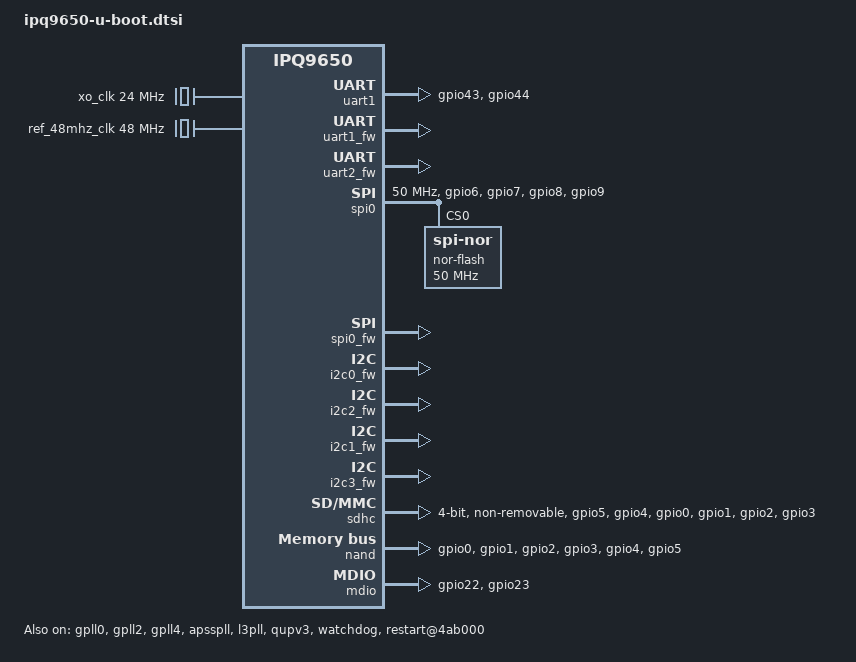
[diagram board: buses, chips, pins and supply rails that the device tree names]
// SPDX-License-Identifier: GPL-2.0+
/*
 * Copyright (c) Qualcomm Technologies, Inc. and/or its subsidiaries.
 */

#include <dt-bindings/interrupt-controller/arm-gic.h>
#include <asm/arch/dt-bindings/clock/qcom,ipq9650-gcc.h>
#include <asm/arch/dt-bindings/clock/qcom,ipq9650-cmn-pll.h>
#include <asm/arch/dt-bindings/reset/qcom,ipq9650-gcc.h>
#include <dt-bindings/net/qcom_ipqsoc.h>
#include <dt-bindings/gpio/gpio.h>
/ {
	bootph-all;
	#address-cells = <2>;
	#size-cells = <2>;
	interrupt-parent = <&intc>;

	aliases {
		serial0 = &uart1;
		uart2 = &uart2;
	};

	chosen {
		stdout-path = "serial0:115200n8";
#ifdef CONFIG_BOOT_BANK_FIXUP
		u-boot,booted-bank = "unknown,bootbank";
#endif
	};

	clocks {
		sleep_clk: sleep-clk {
			compatible = "fixed-clock";
			#clock-cells = <0>;
			clock-frequency = <32000>;
		};

		xo_clk: xo-clk {
			compatible = "fixed-clock";
			clock-frequency = <24000000>;
			#clock-cells = <0>;
		};

		ref_48mhz_clk: ref-48mhz-clk {
			compatible = "fixed-clock";
			clock-frequency = <48000000>;
			#clock-cells = <0>;
		};
	};

	reserved-memory {
		#address-cells = <2>;
		#size-cells = <2>;
		ranges;

		/delete-node/ smem;
		smem_mem: smem_region@8a500000 {
			bootph-all;
			reg = <0x0 0x8a500000 0x0 0x40000>;
			no-map;
		};

		tfa: tfa_region@0x8a600000 {
			reg = <0x0 0x8a600000 0x0 0x80000>;
			no-map;
		};

		optee: optee_region@0x8a680000 {
			reg = <0x0 0x8a680000 0x0 0x280000>;
			no-map;
		};
	};

	firmware {
		optee {
			compatible = "linaro,optee-tz";
			method = "smc";
			status = "disabled";
		};
	};

	smem {
		bootph-all;
		compatible = "qcom,smem";
		memory-region = <&smem_mem>;
	};

	psci {
		compatible = "arm,psci-1.0";
		method = "smc";
	};

	soc@0 {
		bootph-all;
		compatible = "simple-bus";
		#address-cells = <2>;
		#size-cells = <2>;
		ranges = <0 0 0 0 0x10 0>;

		tlmm: pinctrl@1000000 {
			bootph-all;
			compatible = "qcom,ipq9650-tlmm";
			reg = <0 0x01000000 0 0x300000>;
			gpio-controller;
			#gpio-cells = <2>;
			gpio-ranges = <&tlmm 0 0 54>;
			interrupt-controller;
			#interrupt-cells = <2>;

			uart1_pins: uart1-state {
				bootph-all;
				rx-pins {
					pins = "gpio43";
					function = "qup_se6_l3";
					drive-strength = <8>;
					bias-pull-down;
					bootph-all;
				};

				tx-pins {
					pins = "gpio44";
					function = "qup_se6_l2";
					drive-strength = <8>;
					bias-pull-down;
					output-high;
					bootph-all;
				};
			};

			uart2_pins: uart2-state {
				rx-pins {
					pins = "gpio12";
					function = "qup_se1_l3";
					drive-strength = <8>;
					bias-pull-down;
				};

				tx-pins {
					pins = "gpio11";
					function = "qup_se1_l0";
					drive-strength = <8>;
					bias-pull-down;
					output-high;
				};
			};
		};

		intc: interrupt-controller@f200000 {
			bootph-all;
			compatible = "arm,gic-v3";
			reg = <0x0 0x0f200000 0x0 0x10000>, /* GICD */
			      <0x0 0x0f240000 0x0 0xa0000>; /* GICR * 5 regions */
			#interrupt-cells = <0x3>;
			interrupt-controller;
			#redistributor-regions = <1>;
			redistributor-stride = <0x0 0x20000>;
			interrupts = <GIC_PPI 9 IRQ_TYPE_LEVEL_HIGH>;
		};

		tmel_qmp: tmel-qmp@22090000 {
			bootph-all;
			compatible = "qcom,tmel-qmp-mbox";
			reg = <0x0 0x22090000 0x0 0x20>,
			      <0x0 0x22091000 0x0 0x20>;
			reg-names = "mcore", "ucore";

			interrupts = <GIC_SPI 126 IRQ_TYPE_EDGE_RISING>;
			max_pkt_size = <0x18>;

			#mbox-cells = <0>;
			status = "disabled";
		};

		tmelcom: qcom,tmelcom {
			bootph-all;
			compatible = "qcom,tmelcom";
			mboxes = <&tmel_qmp>;
			mbox-names = "tmel-qmp-mbox";
			#clock-cells = <1>;
			#power-domain-cells = <1>;
			#reset-cells = <1>;
			status = "disabled";
		};

		gcc: clock-controller@1800000 {
			bootph-all;
			compatible = "qcom,ipq9650-gcc";
			reg = <0 0x01800000 0 0x40000>;
			#clock-cells = <1>;
			#reset-cells = <1>;
			#power-domain-cells = <1>;
		};

		gpll0: pll@1820000 {
			bootph-pre-ram;
			compatible = "qcom,ipq9650-clk-pll",
				     "qcom,ipq-clk-pll";
			reg = <0 0x01820000 0 0x1000>;
			#clock-cells = <0>;
			clock-output-names = "gpll0";
			status = "okay";
		};

		gpll2: pll@1821000 {
			bootph-pre-ram;
			compatible = "qcom,ipq9650-clk-pll",
				     "qcom,ipq-clk-pll";
			reg = <0 0x01821000 0 0x1000>;
			#clock-cells = <0>;
			clock-output-names = "gpll2";
			status = "okay";
		};

		gpll4: pll@1822000 {
			bootph-pre-ram;
			compatible = "qcom,ipq9650-clk-pll",
				     "qcom,ipq-clk-pll";
			reg = <0 0x01822000 0 0x1000>;
			#clock-cells = <0>;
			clock-output-names = "gpll4";
			status = "okay";
		};

		apsspll: pll@fa80000 {
			bootph-pre-ram;
			compatible = "qcom,ipq9650-clk-pll",
					"qcom,ipq-clk-pll";
			reg = <0 0x0fa80000 0 0x10000>;
			clock-output-names = "apsspll";
			status = "okay";
		};

		apss_cpu: apss-cpu-clock@fa80000 {
			bootph-pre-ram;
			compatible = "qcom,ipq9650-apss";
			reg = <0 0x0fa80000 0 0x10000>;
			#clock-cells = <1>;
		};

		l3pll: pll@faa0000 {
			bootph-pre-ram;
			compatible = "qcom,ipq9650-clk-pll",
					"qcom,ipq-clk-pll";
			reg = <0 0x0faa0000 0 0x10000>;
			clock-output-names = "l3pll";
			status = "okay";
		};

		apss_l3: apss-l3-clock@faa0000 {
			bootph-pre-ram;
			compatible = "qcom,ipq9650-apss";
			reg = <0 0x0faa0000 0 0x10000>;
			#clock-cells = <1>;
		};

		pll_init: qcom,ipq-init-plls {
			bootph-pre-ram;
			compatible = "qcom,ipq-init-plls";
			plls = <&gpll0 &gpll2 &gpll4 &apsspll &l3pll>;
			status = "okay";
		};

		board_init_clks: qcom,ipq-init-clks {
			bootph-pre-ram;
			compatible = "qcom,ipq-init-clks";

			clocks = <&gcc GCC_MPM_AHB_CLK>,
				 <&gcc GCC_GEMNOC_ANOC_CLK>,
				 <&gcc GCC_ANOC0_AXI_CLK>,
				 <&gcc GCC_APSS_DBG_CLK>,
				 <&gcc GCC_APSS_TS_CLK>,
				 <&gcc GCC_SNOC_QOSGEN_EXTREF_CLK>,
				 <&gcc GCC_SYS_NOC_AT_CLK>,
				 <&gcc GCC_SNOC_XO_DCD_CLK>,
				 <&gcc GCC_SNOC_TS_CLK>,
				 <&gcc GCC_PCNOC_AT_CLK>,
				 <&gcc GCC_PCNOC_TS_CLK>,
				 <&gcc GCC_CNOC_QOSGEN_EXTREF_CLK>,
				 <&gcc GCC_AGGRNOC_ATB_CLK>,
				 <&gcc GCC_AGGRNOC_TS_CLK>,
				 <&gcc GCC_ANOC1_AXI_CLK>,
				 <&gcc GCC_ANOC_QOSGEN_EXTREF_CLK>,
				 <&gcc GCC_ANOC_XO_DCD_CLK>,
				 <&gcc GCC_PCNOC_CE_EDPD_CLK>,
				 <&gcc GCC_CMN_LDO_CLK>,
				 <&gcc GCC_SPDM_PCNOC_CY_CLK>;

			assigned-clocks = <&apss_cpu APSS_SILVER_CLK>,
					  <&apss_l3 APSS_L3_CLK>,
					  <&gcc GCC_PCNOC_BFDCD_CLK>,
					  <&gcc GCC_SYSTEM_NOC_BFDCD_CLK>,
					  <&gcc GCC_APSS_AXI_CLK>,
					  <&gcc GCC_APSS_AHB_CLK>,
					  <&gcc GCC_QDSS_TSCTR_CLK>,
					  <&gcc GCC_QDSS_AT_CLK>,
					  <&gcc GCC_ANOC0_AXI_BFDCD_CLK>,
					  <&gcc GCC_XO_CLK>;

			assigned-clock-rates = <1368000000>,
					       <1176000000>,
					       <100000000>,
					       <266666666>,
					       <800000000>,
					       <100000000>,
					       <600000000>,
					       <240000000>,
					       <342000000>,
					       <24000000>;

			clock-names = "pcnoc_bfdcd",
				      "sysnoc_bfdcd",
				      "apss_axi",
				      "apss_ahb",
				      "qdss_tsctr",
				      "qdss_at",
				      "anoc_axi_bfdcd",
				      "xo";

			status = "okay";
		};

		nsscc: clock-controller@29b00000 {
			compatible = "qcom,ipq9650-nsscc";
			reg = <0x0 0x29b00000 0x0 0x100000>;
			clocks = <&xo_clk>,
				 <&cmn_pll IPQ9650_NSS_CLK>,
				 <&cmn_pll IPQ9650_PPE_CLK>;
			clock-names = "xo",
				      "nss",
				      "ppe";
			#clock-cells = <1>;
			#reset-cells = <1>;
			#power-domain-cells = <1>;
		};

		qupv3: geniqup@1ac0000 {
			bootph-all;
			compatible = "qcom,geni-se-qup";
			reg = <0 0x01ac0000 0 0x2000>;
			clocks = <&gcc GCC_QUPV3_AHB_MST_CLK>,
				 <&gcc GCC_QUPV3_AHB_SLV_CLK>;
			clock-names = "m-ahb", "s-ahb";
			ranges;
			#address-cells = <2>;
			#size-cells = <2>;

			status = "disabled";

			uart1: serial@1a98000 {
				bootph-all;
				compatible = "qcom,geni-debug-uart";
				reg = <0 0x1a98000 0 0x4000>;
				clocks = <&gcc GCC_QUPV3_UART2_CLK>;
				clock-names = "se";
				status = "disabled";
			};

			uart2: serial@1a84000 {
				compatible = "qcom,geni-debug-uart";
				reg = <0 0x1a84000 0 0x4000>;
				clocks = <&gcc GCC_QUPV3_UART1_CLK>;
				clock-names = "se";
				status = "disabled";
			};
		};

		sdhc: mmc@7804000 {
			bootph-all;
			compatible = "qcom,ipq9650-sdhci", "qcom,sdhci-msm-v5";
			reg = <0 0x07804000 0 0x1000>,
			      <0 0x07805000 0 0x1000>,
			      <0 0x07808000 0 0x8000>;
			reg-names = "hc", "cqhci", "ice";

			clocks = <&gcc GCC_SDCC1_AHB_CLK>,
				 <&gcc GCC_SDCC1_APPS_CLK>,
				 <&gcc GCC_SDCC1_ICE_CORE_CLK>;
			clock-names = "iface", "core", "ice";

			status = "disabled";
		};

		nand: nand-controller@79B0000 {
			bootph-all;
			compatible = "qti,spi-nand-v2.1.3";
			#address-cells = <2>;
			#size-cells = <2>;
			reg = <0x0 0x79B0000 0x0 0x10000>;
			assigned-clocks = <&gcc GCC_QPIC_CLK>,
					 <&gcc GCC_QPIC_IO_MACRO_CLK>;
			assigned-clock-rates = <100000000>, <200000000>;
			clock-names = "qpic-clk",
				      "qpic-io-macro-clk",
				      "qpic-ahb-clk";
			clocks = <&gcc GCC_QPIC_CLK>,
				<&gcc GCC_QPIC_IO_MACRO_CLK>,
				<&gcc GCC_QPIC_AHB_CLK>;

			bam_reg = <0x07984000>;
			status_pipe = <3>;
			status_pipe_grp = <0>;
			read_pipe = <1>;
			read_pipe_grp = <0>;
			write_pipe = <0>;
			write_pipe_grp = <0>;
			cmd_pipe = <2>;
			cmd_pipe_grp = <1>;
			serial_training;
			pinctrl-0 = <&qspi_pinmux>;
			pinctrl-names = "default";
			status = "okay";
		};

		qmp_ssphy_0: ssphy@7d000 {
			compatible = "qcom,ipq9650-qmp-usb3-phy";
			#address-cells = <2>;
			#size-cells = <2>;
			reg = <0x0 0x7d000 0x0 0x1c0>,
				<0x0 0x7d200 0x0 0x170>,
				<0x0 0x7d400 0x0 0x200>,
				<0x0 0x7d800 0x0 0x1f0>,
				<0x0 0x7de00 0x0 0x60>;
			reg-names = "com_base", "tx_base",
				"rx_base", "pcs_base", "pcs_usb_base";
			clocks = <&gcc GCC_USB0_AUX_CLK>,
				 <&gcc GCC_USB0_PHY_CFG_AHB_CLK>,
				 <&gcc GCC_USB0_PIPE_CLK>;
			#phy-cells = <0>;
			resets =  <&gcc GCC_USB0_PHY_BCR>,
			       <&gcc GCC_USB3PHY_0_PHY_BCR>;
			status = "disabled";
		};

		qusb2_phy_0: qusb2_0@7b000 {
			compatible = "qcom,ipq9650-usb-hs-phy";
			#address-cells = <2>;
			#size-cells = <2>;
			reg = <0x0 0x07b000 0x0 0x114>;
			#phy-cells = <0>;
			clocks = <&gcc GCC_USB0_PHY_CFG_AHB_CLK>;
			clock-names = "cfg_ahb";

			resets = <&gcc GCC_QUSB2_0_PHY_BCR>;
			status = "disabled";
		};

		qusb2_phy_1: qusb2_1@71000 {
			compatible = "qcom,ipq9650-usb-hs-phy";
			#address-cells = <2>;
			#size-cells = <2>;
			reg = <0x0 0x071000 0x0 0x114>;
			#phy-cells = <0>;
			clocks = <&gcc GCC_USB1_PHY_CFG_AHB_CLK>;
			clock-names = "cfg_ahb";
			resets = <&gcc GCC_QUSB2_1_PHY_BCR>;
			status = "disabled";
		};

		usb3_0: usb3_0@8af8800 {
			compatible = "qcom,dwc3";
			reg = <0x0 0x8af8800 0x0 0x100>;
			#address-cells = <2>;
			#size-cells = <2>;
			assigned-clocks = <&gcc GCC_USB0_MASTER_CLK>,
				<&gcc GCC_USB0_MOCK_UTMI_CLK>,
				<&gcc GCC_USB0_AUX_CLK>;
			assigned-clock-rates = <200000000>,
				<24000000>,
				<24000000>;
			clocks = <&gcc GCC_USB0_MASTER_CLK>,
				<&gcc GCC_USB0_AUX_CLK>,
				<&gcc GCC_USB0_SLEEP_CLK>,
				<&gcc GCC_USB0_MOCK_UTMI_CLK>,
				<&gcc GCC_USB0_PHY_CFG_AHB_CLK>,
				<&gcc GCC_USB_CMN_HCLK>,
				<&gcc GCC_USB_CMN_LDO_CLK>;
			clock-names = "master",
				"aux",
				"sleep",
				"ref",
				"cfg_ahb",
				"cmn_hclk",
				"cmn_ldo";
			resets = <&gcc GCC_USB_BCR>;
			ranges;
			status = "disabled";

			dwc3@8a00000 {
				compatible = "snps,dwc3";
				reg = <0x0 0x8a00000 0x0 0xf8000>;
				clocks = <&gcc GCC_USB0_MOCK_UTMI_CLK>;
				clock-names = "ref";
				dr_mode = "host";
				snps,dis_u2_susphy_quirk;
				snps,dis_u3_susphy_quirk;
				phys = <&qusb2_phy_0>, <&qmp_ssphy_0>;
				phy-names = "usb2-phy", "usb3-phy";
				maximum-speed = "super-speed";
			};
		};

		/*
		* usb3_1 node configuration makes usb 3.0 controller
		* to use usb 3.0 devices as usb 2.0 device
		*/
		usb3_1: usb3_1@8af8800 {
			compatible = "qcom,dwc3";
			reg = <0x0 0x8af8800 0x0 0x100>;
			#address-cells = <2>;
			#size-cells = <2>;
			assigned-clocks = <&gcc GCC_USB0_MASTER_CLK>,
				<&gcc GCC_USB0_MOCK_UTMI_CLK>,
				<&gcc GCC_USB0_AUX_CLK>;
			assigned-clock-rates = <200000000>,
				<24000000>,
				<24000000>;
			clocks = <&gcc GCC_USB0_MASTER_CLK>,
				<&gcc GCC_USB0_AUX_CLK>,
				<&gcc GCC_USB0_SLEEP_CLK>,
				<&gcc GCC_USB0_MOCK_UTMI_CLK>,
				<&gcc GCC_USB0_PHY_CFG_AHB_CLK>,
				<&gcc GCC_USB_CMN_HCLK>,
				<&gcc GCC_USB_CMN_LDO_CLK>;
                        clock-names = "master",
                                "aux",
                                "sleep",
                                "ref",
                                "cfg_ahb",
                                "cmn_hclk",
                                "cmn_ldo";
			resets = <&gcc GCC_USB_BCR>;
			ranges;
			qcom,select-utmi-as-pipe-clk;
			status = "disabled";

			dwc3@8a00000 {
				compatible = "snps,dwc3";
				reg = <0x0 0x8a00000 0x0 0xf8000>;
				clocks = <&gcc GCC_USB1_MOCK_UTMI_CLK>;
				clock-names = "ref";
				dr_mode = "host";
				snps,dis_u2_susphy_quirk;
				snps,dis_u3_susphy_quirk;
				phys = <&qusb2_phy_0>;
				phy-names = "usb2-phy";
				maximum-speed = "high-speed";
			};
		};

		usb2_0: usb2_0@1ef8800 {
			compatible = "qcom,dwc3";
			reg = <0x0 0x1ef8800 0x0 0x100>;
			#address-cells = <2>;
			#size-cells = <2>;
			assigned-clocks = <&gcc GCC_USB1_MOCK_UTMI_CLK>;
			assigned-clock-rates = <60000000>;
			clocks = <&gcc GCC_USB1_MASTER_CLK>,
				<&gcc GCC_SNOC_USB_CLK>,
				<&gcc GCC_USB1_SLEEP_CLK>,
				<&gcc GCC_USB1_MOCK_UTMI_CLK>,
				<&gcc GCC_USB1_PHY_CFG_AHB_CLK>;
			clock-names = "master",
				"snoc",
				"sleep",
				"ref",
				"cfg_ahb";
			resets = <&gcc GCC_USB1_BCR>;
			ranges;
			qcom,select-utmi-as-pipe-clk;
			status = "disabled";

			dwc3@1e00000 {
				compatible = "snps,dwc3";
				reg = <0x0 0x1e00000 0x0 0xf8000>;
				clocks = <&gcc GCC_USB1_MOCK_UTMI_CLK>;
				clock-names = "ref";
				dr_mode = "host";
				snps,dis_u2_susphy_quirk;
				snps,dis_u3_susphy_quirk;
				phys = <&qusb2_phy_1>;
				phy-names = "usb2-phy";
				maximum-speed = "high-speed";
			};
		};

		pcie0_phy: phy@84000 {
			compatible = "qcom,ipq9650-qmp-gen3x1-pcie-phy";
			reg = <0x0 0x00084000 0x0 0x1c0>; /* Serdes PLL */
			#address-cells = <1>;
			#size-cells = <1>;

			clocks = <&gcc GCC_PCIE0_AUX_CLK>,
				 <&gcc GCC_PCIE0_AHB_CLK>,
				 <&gcc GCC_PCIE0_RCHNG_CLK>,
				 <&gcc GCC_PCIE0_PIPE_CLK>,
				 <&gcc GCC_ANOC_PCIE0_1LANE_M_CLK>,
				 <&gcc GCC_ANOC_PCIE0_1LANE_S_CLK>;
			clock-names = "aux", "cfg_ahb", "rchng", "pipe",
					"lane_m", "lane_s";

			resets = <&gcc GCC_PCIE0_PHY_BCR>,
				 <&gcc GCC_PCIE0PHY_PHY_BCR>;
			reset-names = "phy", "common";

			#phy-cells = <0>;
			status = "disabled";
		};

		pcie4_phy: phy@8c000 {
			compatible = "qcom,ipq9650-qmp-gen3x1-pcie-phy";
			reg = <0x0 0x0008c000 0x0 0x1c0>; /* Serdes PLL */
			#address-cells = <1>;
			#size-cells = <1>;

			clocks = <&gcc GCC_PCIE4_AUX_CLK>,
				 <&gcc GCC_PCIE4_AHB_CLK>,
				 <&gcc GCC_PCIE4_RCHNG_CLK>,
				 <&gcc GCC_PCIE4_PIPE_CLK>,
				 <&gcc GCC_ANOC_PCIE4_1LANE_M_CLK>,
				 <&gcc GCC_ANOC_PCIE4_1LANE_S_CLK>;
			clock-names = "aux", "cfg_ahb", "rchng", "pipe",
					"lane_m", "lane_s";

			resets = <&gcc GCC_PCIE4_PHY_BCR>,
				 <&gcc GCC_PCIE4PHY_PHY_BCR>;
			reset-names = "phy", "common";

			#phy-cells = <0>;
			status = "disabled";
		};

		pcie3_phy: phy@b4000 {
			compatible = "qcom,ipq9650-qmp-gen3x2-pcie-phy";
			reg = <0x0 0x000b4000 0x0 0x1c0>; /* Serdes PLL */
			#address-cells = <1>;
			#size-cells = <1>;

			clocks = <&gcc GCC_PCIE3_AUX_CLK>,
				 <&gcc GCC_PCIE3_AHB_CLK>,
				 <&gcc GCC_PCIE3_RCHNG_CLK>,
				 <&gcc GCC_PCIE3_PIPE_CLK>,
				 <&gcc GCC_ANOC_PCIE3_2LANE_M_CLK>,
				 <&gcc GCC_ANOC_PCIE3_2LANE_S_CLK>;
			clock-names = "aux", "cfg_ahb", "rchng", "pipe",
					"lane_m", "lane_s";

			resets = <&gcc GCC_PCIE3_PHY_BCR>,
				 <&gcc GCC_PCIE3PHY_PHY_BCR>;
			reset-names = "phy", "common";

			#phy-cells = <0>;
			status = "disabled";
		};

		pcie1_phy: phy@f4000 {
			compatible = "qcom,ipq9650-qmp-gen3x2-pcie-phy";
			reg = <0x0 0x000f4000 0x0 0x1c0>; /* Serdes PLL */
			#address-cells = <1>;
			#size-cells = <1>;

			clocks = <&gcc GCC_PCIE1_AUX_CLK>,
				 <&gcc GCC_PCIE1_AHB_CLK>,
				 <&gcc GCC_PCIE1_RCHNG_CLK>,
				 <&gcc GCC_PCIE1_PIPE_CLK>,
				 <&gcc GCC_ANOC_PCIE1_2LANE_M_CLK>,
				 <&gcc GCC_ANOC_PCIE1_2LANE_S_CLK>;
			clock-names = "aux", "cfg_ahb", "rchng", "pipe",
					"lane_m", "lane_s";

			resets = <&gcc GCC_PCIE1_PHY_BCR>,
				 <&gcc GCC_PCIE1PHY_PHY_BCR>;
			reset-names = "phy", "common";

			#phy-cells = <0>;
			status = "disabled";
		};

		pcie2_phy: phy@fc000 {
			compatible = "qcom,ipq9650-qmp-gen3x2-pcie-phy";
			reg = <0x0 0x000fc000 0x0 0x1c0>; /* Serdes PLL */
			#address-cells = <1>;
			#size-cells = <1>;

			clocks = <&gcc GCC_PCIE2_AUX_CLK>,
				 <&gcc GCC_PCIE2_AHB_CLK>,
				 <&gcc GCC_PCIE2_RCHNG_CLK>,
				 <&gcc GCC_PCIE2_PIPE_CLK>,
				 <&gcc GCC_ANOC_PCIE2_2LANE_M_CLK>,
				 <&gcc GCC_ANOC_PCIE2_2LANE_S_CLK>;
			clock-names = "aux", "cfg_ahb", "rchng", "pipe",
					"lane_m", "lane_s";

			resets = <&gcc GCC_PCIE2_PHY_BCR>,
				 <&gcc GCC_PCIE2PHY_PHY_BCR>;
			reset-names = "phy", "common";

			#phy-cells = <0>;
			status = "disabled";
		};

		/* 2L controller */
		pcie3: pcie@30000000 {
			compatible = "qcom,pcie-ipq9650";
			reg =  <0x0 0x30000000 0x0 0xf1d>,
			       <0x0 0x30000f20 0x0 0xa8>,
			       <0x0 0x30001000 0x0 0x1000>,
			       <0x0 0xb0000 0x0 0x3000>,
			       <0x0 0x30100000 0x0 0x1000>;
			reg-names = "dbi", "elbi", "atu", "parf", "config";
			device_type = "pci";
			linux,pci-domain = <3>;
			bus-range = <0x00 0xff>;
			num-lanes = <2>;
			#address-cells = <3>;
			#size-cells = <2>;
			axi-halt-val = <0x1e>; /* increase halt window size to 1GB */
			id = <3>;

			ranges = <0x81000000 0 0x30200000 0x0 0x30200000 0 0x00100000>,   /* downstream I/O */
				 <0x82000000 0 0x30300000 0x0 0x30300000 0 0x0fd00000>; /* non-prefetchable memory */

			clocks = <&gcc GCC_PCIE3_AXI_M_CLK>,
				 <&gcc GCC_PCIE3_AXI_S_CLK>,
				 <&gcc GCC_PCIE3_AHB_CLK>,
				 <&gcc GCC_PCIE3_AUX_CLK>,
				 <&gcc GCC_PCIE3_AXI_S_BRIDGE_CLK>,
				 <&gcc GCC_PCIE_CMN_HCLK>,
				 <&gcc GCC_PCIE_CMN_LDO_CLK>,
				 <&gcc GCC_REFGEN_PCIE_CORE_CLK>,
				 <&gcc GCC_REFGEN_PCIE_HCLK>;

			clock-names = "axi_m",
				      "axi_s",
				      "ahb",
				      "aux",
				      "axi_bridge",
				      "cmn_hclk",
				      "cmn_ldo",
				      "refgen_core",
				      "refgen_hclk";

			assigned-clocks = <&gcc GCC_PCIE3_AUX_CLK>,
					<&gcc GCC_PCIE3_AXI_M_CLK>,
					<&gcc GCC_PCIE3_AXI_S_CLK>,
					<&gcc GCC_PCIE3_RCHNG_CLK>;

			assigned-clock-rates = <20000000>,
						<266666666>,
						<200000000>,
						<100000000>;

			resets = <&gcc GCC_PCIE3_PIPE_ARES>,
				 <&gcc GCC_PCIE3_CORE_STICKY_RESET>,
				 <&gcc GCC_PCIE3_AXI_M_ARES>,
				 <&gcc GCC_PCIE3_AXI_S_ARES>,
				 <&gcc GCC_PCIE3_AXI_M_STICKY_RESET>,
				 <&gcc GCC_PCIE3_AXI_S_STICKY_RESET>,
				 <&gcc GCC_PCIE3_AHB_ARES>,
				 <&gcc GCC_PCIE3_AUX_ARES>;

			reset-names = "pipe",
				      "sticky",
				      "axi_m",
				      "axi_s",
				      "axi_m_sticky",
				      "axi_s_sticky",
				      "ahb",
				      "aux";

			msi-parent = <&intc>;

			phys = <&pcie3_phy>;
			phy-names = "pciephy";

			status = "disabled";
		};

		/* 2L controller */
		pcie2: pcie@40000000 {
			compatible = "qcom,pcie-ipq9650";
			reg =  <0x0 0x40000000 0x0 0xf1d>,
			       <0x0 0x40000f20 0x0 0xa8>,
			       <0x0 0x40001000 0x0 0x1000>,
			       <0x0 0x000f8000 0x0 0x3000>,
			       <0x0 0x40100000 0x0 0x1000>;
			reg-names = "dbi", "elbi", "atu", "parf", "config";
			device_type = "pci";
			linux,pci-domain = <2>;
			bus-range = <0x00 0xff>;
			num-lanes = <2>;
			#address-cells = <3>;
			#size-cells = <2>;
			axi-halt-val = <0x1e>; /* increase halt window size to 1GB */
			id = <2>;

			ranges = <0x81000000 0 0x40200000 0x0 0x40200000 0 0x00100000>,   /* downstream I/O */
				 <0x82000000 0 0x40300000 0x0 0x40300000 0 0x0fd00000>; /* non-prefetchable memory */

			clocks = <&gcc GCC_PCIE2_AXI_M_CLK>,
				 <&gcc GCC_PCIE2_AXI_S_CLK>,
				 <&gcc GCC_PCIE2_AHB_CLK>,
				 <&gcc GCC_PCIE2_AUX_CLK>,
				 <&gcc GCC_PCIE2_AXI_S_BRIDGE_CLK>,
				 <&gcc GCC_PCIE_CMN_HCLK>,
				 <&gcc GCC_PCIE_CMN_LDO_CLK>,
				 <&gcc GCC_REFGEN_PCIE_CORE_CLK>,
				 <&gcc GCC_REFGEN_PCIE_HCLK>;

			clock-names = "axi_m",
				      "axi_s",
				      "ahb",
				      "aux",
				      "axi_bridge",
				      "cmn_hclk",
				      "cmn_ldo",
				      "refgen_core",
				      "refgen_hclk";

			assigned-clocks = <&gcc GCC_PCIE2_AUX_CLK>,
					<&gcc GCC_PCIE2_AXI_M_CLK>,
					<&gcc GCC_PCIE2_AXI_S_CLK>,
					<&gcc GCC_PCIE2_RCHNG_CLK>;

			assigned-clock-rates = <20000000>,
						<266666666>,
						<200000000>,
						<100000000>;

			resets = <&gcc GCC_PCIE2_PIPE_ARES>,
				 <&gcc GCC_PCIE2_CORE_STICKY_RESET>,
				 <&gcc GCC_PCIE2_AXI_M_ARES>,
				 <&gcc GCC_PCIE2_AXI_S_ARES>,
				 <&gcc GCC_PCIE2_AXI_M_STICKY_RESET>,
				 <&gcc GCC_PCIE2_AXI_S_STICKY_RESET>,
				 <&gcc GCC_PCIE2_AHB_ARES>,
				 <&gcc GCC_PCIE2_AUX_ARES>;

			reset-names = "pipe",
				      "sticky",
				      "axi_m",
				      "axi_s",
				      "axi_m_sticky",
				      "axi_s_sticky",
				      "ahb",
				      "aux";

			msi-parent = <&intc>;

			phys = <&pcie2_phy>;
			phy-names = "pciephy";

			status = "disabled";
		};
		/* 2L controller */
		pcie1: pcie@50000000 {
			compatible = "qcom,pcie-ipq9650";
			reg =  <0x0 0x50000000 0x0 0xf1d>,
			       <0x0 0x50000f20 0x0 0xa8>,
			       <0x0 0x50001000 0x0 0x1000>,
			       <0x0 0x000f0000 0x0 0x3000>,
			       <0x0 0x50100000 0x0 0x1000>;
			reg-names = "dbi", "elbi", "atu", "parf", "config";
			device_type = "pci";
			linux,pci-domain = <1>;
			bus-range = <0x00 0xff>;
			num-lanes = <2>;
			#address-cells = <3>;
			#size-cells = <2>;
			axi-halt-val = <0x1e>; /* increase halt window size to 1GB */
			id = <1>;

			ranges = <0x81000000 0 0x50200000 0x0 0x50200000 0 0x00100000>,   /* downstream I/O */
				 <0x82000000 0 0x50300000 0x0 0x50300000 0 0x0fd00000>; /* non-prefetchable memory */

			clocks = <&gcc GCC_PCIE1_AXI_M_CLK>,
				 <&gcc GCC_PCIE1_AXI_S_CLK>,
				 <&gcc GCC_PCIE1_AHB_CLK>,
				 <&gcc GCC_PCIE1_AUX_CLK>,
				 <&gcc GCC_PCIE1_AXI_S_BRIDGE_CLK>,
				 <&gcc GCC_PCIE_CMN_HCLK>,
				 <&gcc GCC_PCIE_CMN_LDO_CLK>,
				 <&gcc GCC_REFGEN_PCIE_CORE_CLK>,
				 <&gcc GCC_REFGEN_PCIE_HCLK>;

			clock-names = "axi_m",
				      "axi_s",
				      "ahb",
				      "aux",
				      "axi_bridge",
				      "cmn_hclk",
				      "cmn_ldo",
				      "refgen_core",
				      "refgen_hclk";

			assigned-clocks = <&gcc GCC_PCIE1_AUX_CLK>,
					<&gcc GCC_PCIE1_AXI_M_CLK>,
					<&gcc GCC_PCIE1_AXI_S_CLK>,
					<&gcc GCC_PCIE1_RCHNG_CLK>;

			assigned-clock-rates = <20000000>,
						<266666666>,
						<200000000>,
						<100000000>;

			resets = <&gcc GCC_PCIE1_PIPE_ARES>,
				 <&gcc GCC_PCIE1_CORE_STICKY_RESET>,
				 <&gcc GCC_PCIE1_AXI_M_ARES>,
				 <&gcc GCC_PCIE1_AXI_S_ARES>,
				 <&gcc GCC_PCIE1_AXI_M_STICKY_RESET>,
				 <&gcc GCC_PCIE1_AXI_S_STICKY_RESET>,
				 <&gcc GCC_PCIE1_AHB_ARES>,
				 <&gcc GCC_PCIE1_AUX_ARES>;

			reset-names = "pipe",
				      "sticky",
				      "axi_m",
				      "axi_s",
				      "axi_m_sticky",
				      "axi_s_sticky",
				      "ahb",
				      "aux";

			msi-parent = <&intc>;

			phys = <&pcie1_phy>;
			phy-names = "pciephy";

			status = "disabled";
		};

		/* 1L controller */
		pcie4: pcie@60000000 {
			compatible = "qcom,pcie-ipq9650";
			reg =  <0x0 0x60000000 0x0 0xf1d>,
			       <0x0 0x60000f20 0x0 0xa8>,
			       <0x0 0x60001000 0x0 0x1000>,
			       <0x0 0x80000 0x0 0x3000>,
			       <0x0 0x60100000 0x0 0x1000>;
			reg-names = "dbi", "elbi", "atu", "parf", "config";
			device_type = "pci";
			linux,pci-domain = <4>;
			bus-range = <0x00 0xff>;
			num-lanes = <1>;
			#address-cells = <3>;
			#size-cells = <2>;
			axi-halt-val = <0x1e>; /* increase halt window size to 1GB */
			id = <4>;

			ranges = <0x81000000 0 0x60200000 0x0 0x60200000 0 0x00100000>,   /* downstream I/O */
				 <0x82000000 0 0x60300000 0x0 0x60300000 0 0x0fd00000>; /* non-prefetchable memory */

			clocks = <&gcc GCC_PCIE4_AXI_M_CLK>,
				 <&gcc GCC_PCIE4_AXI_S_CLK>,
				 <&gcc GCC_PCIE4_AHB_CLK>,
				 <&gcc GCC_PCIE4_AUX_CLK>,
				 <&gcc GCC_PCIE4_AXI_S_BRIDGE_CLK>,
				 <&gcc GCC_PCIE_CMN_HCLK>,
				 <&gcc GCC_PCIE_CMN_LDO_CLK>,
				 <&gcc GCC_REFGEN_PCIE_CORE_CLK>,
				 <&gcc GCC_REFGEN_PCIE_HCLK>;

			clock-names = "axi_m",
				      "axi_s",
				      "ahb",
				      "aux",
				      "axi_bridge",
				      "cmn_hclk",
				      "cmn_ldo",
				      "refgen_core",
				      "refgen_hclk";

			assigned-clocks = <&gcc GCC_PCIE4_AUX_CLK>,
					<&gcc GCC_PCIE4_AXI_M_CLK>,
					<&gcc GCC_PCIE4_AXI_S_CLK>,
					<&gcc GCC_PCIE4_RCHNG_CLK>;

			assigned-clock-rates = <20000000>,
						<200000000>,
						<200000000>,
						<100000000>;

			resets = <&gcc GCC_PCIE4_PIPE_ARES>,
				 <&gcc GCC_PCIE4_CORE_STICKY_RESET>,
				 <&gcc GCC_PCIE4_AXI_M_ARES>,
				 <&gcc GCC_PCIE4_AXI_S_ARES>,
				 <&gcc GCC_PCIE4_AXI_M_STICKY_RESET>,
				 <&gcc GCC_PCIE4_AXI_S_STICKY_RESET>,
				 <&gcc GCC_PCIE4_AHB_ARES>,
				 <&gcc GCC_PCIE4_AUX_ARES>;

			reset-names = "pipe",
				      "sticky",
				      "axi_m",
				      "axi_s",
				      "axi_m_sticky",
				      "axi_s_sticky",
				      "ahb",
				      "aux";

			msi-parent = <&intc>;

			phys = <&pcie4_phy>;
			phy-names = "pciephy";

			status = "disabled";
		};

		/* 1L controller */
		pcie0: pcie@70000000 {
			compatible = "qcom,pcie-ipq9650";
			reg =  <0x0 0x70000000 0x0 0xf1d>,
			       <0x0 0x70000f20 0x0 0xa8>,
			       <0x0 0x70001000 0x0 0x1000>,
			       <0x0 0x80000 0x0 0x3000>,
			       <0x0 0x70100000 0x0 0x1000>;
			reg-names = "dbi", "elbi", "atu", "parf", "config";
			device_type = "pci";
			linux,pci-domain = <0>;
			bus-range = <0x00 0xff>;
			num-lanes = <1>;
			#address-cells = <3>;
			#size-cells = <2>;
			axi-halt-val = <0x1e>; /* increase halt window size to 1GB */
			id = <0>;

			ranges = <0x81000000 0 0x70200000 0x0 0x70200000 0 0x00100000>,   /* downstream I/O */
				 <0x82000000 0 0x70300000 0x0 0x70300000 0 0x0fd00000>; /* non-prefetchable memory */

			clocks = <&gcc GCC_PCIE0_AXI_M_CLK>,
				 <&gcc GCC_PCIE0_AXI_S_CLK>,
				 <&gcc GCC_PCIE0_AHB_CLK>,
				 <&gcc GCC_PCIE0_AUX_CLK>,
				 <&gcc GCC_PCIE0_AXI_S_BRIDGE_CLK>,
				 <&gcc GCC_PCIE_CMN_HCLK>,
				 <&gcc GCC_PCIE_CMN_LDO_CLK>,
				 <&gcc GCC_REFGEN_PCIE_CORE_CLK>,
				 <&gcc GCC_REFGEN_PCIE_HCLK>;

			clock-names = "axi_m",
				      "axi_s",
				      "ahb",
				      "aux",
				      "axi_bridge",
				      "cmn_hclk",
				      "cmn_ldo",
				      "refgen_core",
				      "refgen_hclk";

			assigned-clocks = <&gcc GCC_PCIE0_AUX_CLK>,
					<&gcc GCC_PCIE0_AXI_M_CLK>,
					<&gcc GCC_PCIE0_AXI_S_CLK>,
					<&gcc GCC_PCIE0_RCHNG_CLK>;

			assigned-clock-rates = <20000000>,
						<200000000>,
						<200000000>,
						<100000000>;

			resets = <&gcc GCC_PCIE0_PIPE_ARES>,
				 <&gcc GCC_PCIE0_CORE_STICKY_RESET>,
				 <&gcc GCC_PCIE0_AXI_M_ARES>,
				 <&gcc GCC_PCIE0_AXI_S_ARES>,
				 <&gcc GCC_PCIE0_AXI_M_STICKY_RESET>,
				 <&gcc GCC_PCIE0_AXI_S_STICKY_RESET>,
				 <&gcc GCC_PCIE0_AHB_ARES>,
				 <&gcc GCC_PCIE0_AUX_ARES>;

			reset-names = "pipe",
				      "sticky",
				      "axi_m",
				      "axi_s",
				      "axi_m_sticky",
				      "axi_s_sticky",
				      "ahb",
				      "aux";

			msi-parent = <&intc>;

			phys = <&pcie0_phy>;
			phy-names = "pciephy";

			status = "disabled";
		};

		watchdog: non-sec@f410000 {
			compatible = "qcom,apss-wdt-ipq9650", "qcom,kpss-wdt";
			#address-cells = <2>;
			#size-cells = <2>;
			reg =  <0x0 0xf410000 0x0 0x1000>;
			clocks = <&sleep_clk>;
			timeout-sec = <30>;
			status = "okay";
		};

		restart@4ab000 {
			bootph-pre-ram;
			compatible = "qcom,pshold";
			reg = <0x0 0x4AB000 0x0 0x4>;
			status = "okay";
		};

		mdio: mdio@90000 {
			#address-cells = <1>;
			#size-cells = <1>;
			compatible = "qcom,ipq4019-mdio";
			pinctrl-0 = <&mdio_pins>;
			pinctrl-names = "default";
			reg = <0x00000000 0x00090000 0x00000000 0x00000064>;
			clocks = <&gcc GCC_MDIO_AHB_CLK>;
			clk_div = /bits/ 8 <31>;
			status = "okay";
		};

		cmn_pll: clock-controller@9b000 {
			compatible = "qcom,ipq9650-cmn-pll";
			reg = <0x0 0x0009b000 0x0 0x800>;
			clocks = <&ref_48mhz_clk>,
				 <&gcc GCC_CMN_12GPLL_AHB_CLK>,
				 <&gcc GCC_CMN_12GPLL_SYS_CLK>;
			clock-names = "ref", "ahb", "sys";
			#clock-cells = <1>;
			assigned-clocks = <&cmn_pll IPQ9650_CMN_PLL_CLK>;
			assigned-clock-rates-u64 = /bits/ 64 <12000000000>;
			status = "disabled";
		};

		ess_instance: ess-instance {
			compatible = "qcom,ipq-nss-switchv2";
			#address-cells = <1>;
			#size-cells = <1>;
			reg = <0x0 0x2AD00000 0x0 0x000EF800>,
			      <0x0 0x2A000000 0x0 0x01000000>,
			      <0x0 0x07A00000 0x0 0x00010000>;
			reg-names = "edma_hw", "ppe_base", "uniphy_base";

			tdm_mode = <0>;
			bridge_mode;
			status = "disabled";

			assigned-clocks = <&gcc GCC_SYSTEM_NOC_BFDCD_CLK>,
					  <&nsscc NSS_CC_PPE_CLK>,
					  <&nsscc NSS_CC_CE_AXI_CLK>,
					  <&nsscc NSS_CC_CFG_CLK>,
					  <&nsscc NSS_CC_EIP_BFDCD_CLK>;
			assigned-clock-rates = <266333333>,
					       <462000000>,
					       <462000000>,
					       <100000000>,
					       <800000000>;

			clocks = <&gcc GCC_CMN_12GPLL_AHB_CLK>,
				<&gcc GCC_CMN_12GPLL_APU_CLK>,
				<&gcc GCC_CMN_12GPLL_SYS_CLK>,
				<&gcc GCC_CMN_LDO_CLK>,
				<&gcc GCC_REFGEN_CMN_UPHY_CORE_CLK>,
				<&gcc GCC_REFGEN_CMN_UPHY_HCLK_CLK>,
				<&gcc GCC_UNIPHY0_AHB_CLK>,
				<&gcc GCC_UNIPHY0_SYS_CLK>,
				<&gcc GCC_UNIPHY1_AHB_CLK>,
				<&gcc GCC_UNIPHY1_SYS_CLK>,
				<&gcc GCC_UNIPHY2_AHB_CLK>,
				<&gcc GCC_UNIPHY2_SYS_CLK>,
				<&gcc GCC_NSSNOC_NSSCC_CLK>,
				<&gcc GCC_NSSCC_CLK>,
				<&gcc GCC_NSSNOC_SNOC_1_CLK>,
				<&gcc GCC_NSSNOC_SNOC_CLK>,
				<&gcc GCC_NSSNOC_MEMNOC_CLK>,
				<&gcc GCC_NSSNOC_MEMNOC_1_CLK>,
				<&gcc GCC_NSSCFG_CLK>,
				<&gcc GCC_NSSNOC_QOSGEN_REF_CLK>,
				<&gcc GCC_NSSNOC_TIMEOUT_REF_CLK>,
				<&nsscc NSS_CC_PORT1_MAC_CLK>,
				<&nsscc NSS_CC_PORT2_MAC_CLK>,
				<&nsscc NSS_CC_PORT3_MAC_CLK>,
				<&nsscc NSS_CC_PORT4_MAC_CLK>,
				<&nsscc NSS_CC_PORT5_MAC_CLK>,
				<&nsscc NSS_CC_PORT6_MAC_CLK>,
				<&nsscc NSS_CC_PPE_SWITCH_CLK>,
				<&nsscc NSS_CC_PPE_SWITCH_CFG_CLK>,
				<&nsscc NSS_CC_NSSNOC_PPE_CLK>,
				<&nsscc NSS_CC_NSSNOC_PPE_CFG_CLK>,
				<&nsscc NSS_CC_PPE_EDMA_CLK>,
				<&nsscc NSS_CC_PPE_EDMA_CFG_CLK>,
				<&nsscc NSS_CC_PPE_SWITCH_IPE_CLK>,
				<&nsscc NSS_CC_PPE_SWITCH_BTQ_CLK>,
				<&nsscc NSS_CC_PORT1_RX_CLK>,
				<&nsscc NSS_CC_PORT1_TX_CLK>,
				<&nsscc NSS_CC_PORT2_RX_CLK>,
				<&nsscc NSS_CC_PORT2_TX_CLK>,
				<&nsscc NSS_CC_PORT3_RX_CLK>,
				<&nsscc NSS_CC_PORT3_TX_CLK>,
				<&nsscc NSS_CC_PORT4_RX_CLK>,
				<&nsscc NSS_CC_PORT4_TX_CLK>,
				<&nsscc NSS_CC_PORT5_RX_CLK>,
				<&nsscc NSS_CC_PORT5_TX_CLK>,
				<&nsscc NSS_CC_PORT6_RX_CLK>,
				<&nsscc NSS_CC_PORT6_TX_CLK>,
				<&nsscc NSS_CC_UNIPHY_PORT1_RX_CLK>,
				<&nsscc NSS_CC_UNIPHY_PORT1_TX_CLK>,
				<&nsscc NSS_CC_UNIPHY_PORT2_RX_CLK>,
				<&nsscc NSS_CC_UNIPHY_PORT2_TX_CLK>,
				<&nsscc NSS_CC_UNIPHY_PORT3_RX_CLK>,
				<&nsscc NSS_CC_UNIPHY_PORT3_TX_CLK>,
				<&nsscc NSS_CC_UNIPHY_PORT4_RX_CLK>,
				<&nsscc NSS_CC_UNIPHY_PORT4_TX_CLK>,
				<&nsscc NSS_CC_UNIPHY_PORT5_RX_CLK>,
				<&nsscc NSS_CC_UNIPHY_PORT5_TX_CLK>,
				<&nsscc NSS_CC_UNIPHY_PORT6_RX_CLK>,
				<&nsscc NSS_CC_UNIPHY_PORT6_TX_CLK>,
				<&nsscc NSS_CC_CE_APB_CLK>,
				<&nsscc NSS_CC_CE_AXI_CLK>,
				<&nsscc NSS_CC_EIP_CLK>,
				<&nsscc NSS_CC_EIP_BFDCD_CLK>,
				<&nsscc NSS_CC_NSS_CSR_CLK>,
				<&nsscc NSS_CC_NSSNOC_CE_APB_CLK>,
				<&nsscc NSS_CC_NSSNOC_CE_AXI_CLK>,
				<&nsscc NSS_CC_NSSNOC_EIP_CLK>,
				<&nsscc NSS_CC_NSSNOC_NSS_CSR_CLK>;

			clock-names = "cmn_ahb_clk",
				"cmn_apu_clk",
				"cmn_sys_clk",
				"gcc_cmn_ldo_clk",
				"refgen_core_clk",
				"refgen_hclk",
				"uniphy0_ahb_clk",
				"uniphy0_sys_clk",
				"uniphy1_ahb_clk",
				"uniphy1_sys_clk",
				"uniphy2_ahb_clk",
				"uniphy2_sys_clk",
				"gcc_nssnoc_nsscc_clk",
				"gcc_nsscc_clk",
				"gcc_nssnoc_snoc_1_clk",
				"gcc_nssnoc_snoc_clk",
				"gcc_nssnoc_memnoc_clk",
				"gcc_nssnoc_memnoc_1_clk",
				"gcc_nsscfg_clk",
				"gcc_nssnoc_qosgen_ref_clk",
				"gcc_nssnoc_timeout_ref_clk",
				"port1_mac_clk",
				"port2_mac_clk",
				"port3_mac_clk",
				"port4_mac_clk",
				"port5_mac_clk",
				"port6_mac_clk",
				"nss_ppe_clk",
				"nss_ppe_cfg_clk",
				"nssnoc_ppe_clk",
				"nssnoc_ppe_cfg_clk",
				"nss_edma_clk",
				"nss_edma_cfg_clk",
				"nss_ppe_ipe_clk",
				"nss_ppe_btq_clk",
				"nss_port1_rx_clk",
				"nss_port1_tx_clk",
				"nss_port2_rx_clk",
				"nss_port2_tx_clk",
				"nss_port3_rx_clk",
				"nss_port3_tx_clk",
				"nss_port4_rx_clk",
				"nss_port4_tx_clk",
				"nss_port5_rx_clk",
				"nss_port5_tx_clk",
				"nss_port6_rx_clk",
				"nss_port6_tx_clk",
				"uniphy0_port1_rx_clk",
				"uniphy0_port1_tx_clk",
				"uniphy0_port2_rx_clk",
				"uniphy0_port2_tx_clk",
				"uniphy0_port3_rx_clk",
				"uniphy0_port3_tx_clk",
				"uniphy0_port4_rx_clk",
				"uniphy0_port4_tx_clk",
				"uniphy1_port5_rx_clk",
				"uniphy1_port5_tx_clk",
				"uniphy2_port6_rx_clk",
				"uniphy2_port6_tx_clk",
				"nss_cc_ce_apb_clk",
				"nss_cc_ce_axi_clk",
				"nss_cc_eip_clk",
				"nss_cc_eip_bfdcd_clk",
				"nss_cc_nss_csr_clk",
				"nss_cc_nssnoc_ce_apb_clk",
				"nss_cc_nssnoc_ce_axi_clk",
				"nss_cc_nssnoc_eip_clk",
				"nss_cc_nssnoc_nss_csr_clk";

			resets = <&nsscc NSS_CC_PPE_BCR>,
				<&gcc GCC_UNIPHY0_BCR>,
				<&gcc GCC_UNIPHY1_BCR>,
				<&gcc GCC_UNIPHY2_BCR>,
				<&gcc GCC_UNIPHY0_AHB_ARES>,
				<&gcc GCC_UNIPHY1_AHB_ARES>,
				<&gcc GCC_UNIPHY2_AHB_ARES>,
				<&gcc GCC_UNIPHY0_SYS_ARES>,
				<&gcc GCC_UNIPHY1_SYS_ARES>,
				<&gcc GCC_UNIPHY2_SYS_ARES>,
				<&gcc GCC_UNIPHY0_PMA_ARES>,
				<&gcc GCC_UNIPHY1_PMA_ARES>,
				<&gcc GCC_UNIPHY2_PMA_ARES>,
				<&gcc GCC_UNIPHY0_XPCS_ARES>,
				<&gcc GCC_UNIPHY1_XPCS_ARES>,
				<&gcc GCC_UNIPHY2_XPCS_ARES>,
				<&gcc GCC_REFGEN_CMN_UPHY_CORE_ARES>,
				<&gcc GCC_REFGEN_CMN_UPHY_HCLK_ARES>,
				<&nsscc NSS_CC_PPE_EDMA_ARES>,
				<&nsscc NSS_CC_UNIPHY_PORT1_RX_CLK_ARES>,
				<&nsscc NSS_CC_UNIPHY_PORT1_TX_CLK_ARES>,
				<&nsscc NSS_CC_UNIPHY_PORT2_RX_CLK_ARES>,
				<&nsscc NSS_CC_UNIPHY_PORT2_TX_CLK_ARES>,
				<&nsscc NSS_CC_UNIPHY_PORT3_RX_CLK_ARES>,
				<&nsscc NSS_CC_UNIPHY_PORT3_TX_CLK_ARES>,
				<&nsscc NSS_CC_UNIPHY_PORT4_RX_CLK_ARES>,
				<&nsscc NSS_CC_UNIPHY_PORT4_TX_CLK_ARES>,
				<&nsscc NSS_CC_UNIPHY_PORT5_RX_CLK_ARES>,
				<&nsscc NSS_CC_UNIPHY_PORT5_TX_CLK_ARES>,
				<&nsscc NSS_CC_UNIPHY_PORT6_RX_CLK_ARES>,
				<&nsscc NSS_CC_UNIPHY_PORT6_TX_CLK_ARES>,
				<&nsscc NSS_CC_PORT1_RX_CLK_ARES>,
				<&nsscc NSS_CC_PORT1_TX_CLK_ARES>,
				<&nsscc NSS_CC_PORT2_RX_CLK_ARES>,
				<&nsscc NSS_CC_PORT2_TX_CLK_ARES>,
				<&nsscc NSS_CC_PORT3_RX_CLK_ARES>,
				<&nsscc NSS_CC_PORT3_TX_CLK_ARES>,
				<&nsscc NSS_CC_PORT4_RX_CLK_ARES>,
				<&nsscc NSS_CC_PORT4_TX_CLK_ARES>,
				<&nsscc NSS_CC_PORT5_RX_CLK_ARES>,
				<&nsscc NSS_CC_PORT5_TX_CLK_ARES>,
				<&nsscc NSS_CC_PORT6_RX_CLK_ARES>,
				<&nsscc NSS_CC_PORT6_TX_CLK_ARES>,
				<&nsscc NSS_CC_PORT1_MAC_CLK_ARES>,
				<&nsscc NSS_CC_PORT2_MAC_CLK_ARES>,
				<&nsscc NSS_CC_PORT3_MAC_CLK_ARES>,
				<&nsscc NSS_CC_PORT4_MAC_CLK_ARES>,
				<&nsscc NSS_CC_PORT5_MAC_CLK_ARES>,
				<&nsscc NSS_CC_PORT6_MAC_CLK_ARES>;

			reset-names = "ppe_rst",
				"uniphy0_soft_rst",
				"uniphy1_soft_rst",
				"uniphy2_soft_rst",
				"uniphy0_ahb_rst",
				"uniphy1_ahb_rst",
				"uniphy2_ahb_rst",
				"uniphy0_sys_rst",
				"uniphy1_sys_rst",
				"uniphy2_sys_rst",
				"uniphy0_pma_rst",
				"uniphy1_pma_rst",
				"uniphy2_pma_rst",
				"uniphy0_xpcs_rst",
				"uniphy1_xpcs_rst",
				"uniphy2_xpcs_rst",
				"refgen_core_ares",
				"refgen_hclk_ares",
				"ppe_edma_rst",
				"uniphy_port1_rx_rst",
				"uniphy_port1_tx_rst",
				"uniphy_port2_rx_rst",
				"uniphy_port2_tx_rst",
				"uniphy_port3_rx_rst",
				"uniphy_port3_tx_rst",
				"uniphy_port4_rx_rst",
				"uniphy_port4_tx_rst",
				"uniphy_port5_rx_rst",
				"uniphy_port5_tx_rst",
				"uniphy_port6_rx_rst",
				"uniphy_port6_tx_rst",
				"nss_port1_rx_rst",
				"nss_port1_tx_rst",
				"nss_port2_rx_rst",
				"nss_port2_tx_rst",
				"nss_port3_rx_rst",
				"nss_port3_tx_rst",
				"nss_port4_rx_rst",
				"nss_port4_tx_rst",
				"nss_port5_rx_rst",
				"nss_port5_tx_rst",
				"nss_port6_rx_rst",
				"nss_port6_tx_rst",
				"nss_port1_mac_rst",
				"nss_port2_mac_rst",
				"nss_port3_mac_rst",
				"nss_port4_mac_rst",
				"nss_port5_mac_rst",
				"nss_port6_mac_rst";

			port_scheduler_resource {
				port@0 {
					port_id = <0>;
					ucast_queue = <128 255>;
					mcast_queue = <256 263>;
					l0sp = <26 41>;
					l0cdrr = <128 255>;
					l0edrr = <128 255>;
					l1cdrr = <26 41>;
					l1edrr = <26 41>;
				};
				port@1 {
					port_id = <1>;
					ucast_queue = <0 7>;
					mcast_queue = <272 275>;
					l0sp = <0 1>;
					l0cdrr = <0 7>;
					l0edrr = <0 7>;
					l1cdrr = <0 1>;
					l1edrr = <0 1>;
				};
				port@2 {
					port_id = <2>;
					ucast_queue = <8 15>;
					mcast_queue = <276 279>;
					l0sp = <2 3>;
					l0cdrr = <8 15>;
					l0edrr = <8 15>;
					l1cdrr = <2 3>;
					l1edrr = <2 3>;
				};
				port@3 {
					port_id = <3>;
					ucast_queue = <16 23>;
					mcast_queue = <280 283>;
					l0sp = <4 5>;
					l0cdrr = <16 23>;
					l0edrr = <16 23>;
					l1cdrr = <4 5>;
					l1edrr = <4 5>;
				};
				port@4 {
					port_id = <4>;
					ucast_queue = <24 31>;
					mcast_queue = <284 287>;
					l0sp = <6 7>;
					l0cdrr = <24 31>;
					l0edrr = <24 31>;
					l1cdrr = <6 7>;
					l1edrr = <6 7>;
				};
				port@5 {
					port_id = <5>;
					ucast_queue = <32 39>;
					mcast_queue = <288 291>;
					l0sp = <8 9>;
					l0cdrr = <32 39>;
					l0edrr = <32 39>;
					l1cdrr = <8 9>;
					l1edrr = <8 9>;
				};
				port@6 {
					port_id = <6>;
					ucast_queue = <40 71>;
					mcast_queue = <292 295>;
					l0sp = <10 17>;
					l0cdrr = <40 71>;
					l0edrr = <40 71>;
					l1cdrr = <10 17>;
					l1edrr = <10 17>;
				};
				port@7 {
					port_id = <7>;
					ucast_queue = <72 79>;
					mcast_queue = <296 297>;
					l0sp = <18 19>;
					l0cdrr = <72 79>;
					l0edrr = <72 79>;
					l1cdrr = <18 19>;
					l1edrr = <18 19>;
				};
				port@8 {
					port_id = <8>;
					ucast_queue = <80 127>;
					mcast_queue = <298 299>;
					l0sp = <20 25>;
					l0cdrr = <80 127>;
					l0edrr = <80 127>;
					l1cdrr = <20 25>;
					l1edrr = <20 25>;
				};
				reserved {
					ucast_queue = <0 0>;
					mcast_queue = <0 0>;
					l0sp = <42 63>;
					l0cdrr = <0 0>;
					l0edrr = <0 0>;
					l1cdrr = <42 63>;
					l1edrr = <42 63>;
				};
			};

			port_scheduler_config {
				port@0 {
					port_id = <0>;

					l1scheduler {
						group@0 {
							/* L0 SP */
							sp = <26>;
							sp_loop_pri = <12>;
							sp_max_pri = <1>;
							/* cpri cdrr epri edrr */
							cfg = <0 26 0 26>;
						};

						group@1 {
							/* SSID groups with 4 priorities on L1 */
							sp = <38>;
							sp_loop_pri = <4>;
							/* cpri cdrr epri edrr */
							cfg = <0 38 0 38>;
						};

						group@2 {
							sp = <42>;
							sp_loop_pri = <3>;
							/* cpri cdrr epri edrr */
							cfg = <0 42 0 42>;
						};
					};

					l0scheduler {
						group@0 {
							/* (5 cores + 4 VPs) + 1 SMD host groups with 8 priorities */
							ucast_queue = <128>;
							ucast_loop_pri = <80>;
							ucast_max_pri = <8>;
							/* multicast queue */
							mcast_queue = <256>;
							mcast_loop_pri = <8>;
							/* sp cpri cdrr epri edrr */
							cfg = <26 0 128 0 128>;
						};

						group@1 {
							/* GRO group */
							ucast_queue = <208>;
							ucast_loop_pri = <8>;
							cfg = <36 0 208 0 208>;
						};

						group@2 {
							/* SMD DS group */
							ucast_queue = <216>;
							ucast_loop_pri = <8>;
							cfg = <37 0 216 0 216>;
						};

						group@3 {
							/* 4 SSID groups with 8 priorities. */
							ucast_queue = <224>;
							ucast_loop_pri = <32>;
							ucast_max_pri = <8>;
							cfg = <38 0 224 0 224>;
						};

						group@4 {
							/* IGSRAM for DDRQ LAN to WAN with 8 priorities. */
							ucast_queue = <216>;
							ucast_loop_pri = <8>;
							ucast_max_pri = <8>;
							cfg = <42 0 216 0 216>;
						};

						group@5 {
							/* IGSRAM for DDRQ WAN to LAN with 8 priorities. */
							ucast_queue = <224>;
							ucast_loop_pri = <8>;
							ucast_max_pri = <8>;
							cfg = <43 0 224 0 224>;
						};

						group@6 {
							/* IGSRAM for DDRQ DS to WAN with 1 priority. */
							ucast_queue = <232>;
							cfg = <44 0 232 0 232>;
						};
					};
				};
				port@1 {
					port_id = <1>;
					l1scheduler {
						group@0 {
							sp = <0>;
							cfg = <0 0 0 0>;
						};
					};
					l0scheduler {
						group@0 {
							ucast_queue = <0>;
							ucast_loop_pri = <8>;
							mcast_queue = <272>;
							mcast_loop_pri = <4>;
							cfg = <0 0 0 0 0>;
						};
					};
				};
				port@2 {
					port_id = <2>;
					l1scheduler {
						group@0 {
							sp = <2>;
							cfg = <0 2 0 2>;
						};
					};
					l0scheduler {
						group@0 {
							ucast_queue = <8>;
							ucast_loop_pri = <8>;
							mcast_queue = <276>;
							mcast_loop_pri = <4>;
							cfg = <2 0 8 0 8>;
						};
					};
				};
				port@3 {
					port_id = <3>;
					l1scheduler {
						group@0 {
							sp = <4>;
							cfg = <0 4 0 4>;
						};
					};
					l0scheduler {
						group@0 {
							ucast_queue = <16>;
							ucast_loop_pri = <8>;
							mcast_queue = <280>;
							mcast_loop_pri = <4>;
							cfg = <4 0 16 0 16>;
						};
					};
				};
				port@4 {
					port_id = <4>;
					l1scheduler {
						group@0 {
							sp = <6>;
							cfg = <0 6 0 6>;
						};
					};
					l0scheduler {
						group@0 {
							ucast_queue = <24>;
							ucast_loop_pri = <8>;
							mcast_queue = <284>;
							mcast_loop_pri = <4>;
							cfg = <6 0 24 0 24>;
						};
					};
				};
				port@5 {
					port_id = <5>;
					l1scheduler {
						group@0 {
							sp = <8>;
							cfg = <0 8 0 8>;
						};
					};
					l0scheduler {
						group@0 {
							ucast_queue = <32>;
							ucast_loop_pri = <8>;
							mcast_queue = <288>;
							mcast_loop_pri = <4>;
							cfg = <8 0 32 0 32>;
						};
					};
				};
				port@6 {
					port_id = <6>;

					l1scheduler {
						group@0 {
							sp = <10>;
							sp_loop_pri = <4>;
							sp_max_pri = <1>;
							cfg = <0 10 0 10>;
						};
					};

					l0scheduler {
						group@0 {
							ucast_queue = <40>;
							ucast_loop_pri = <32>;
							ucast_max_pri = <8>;
							mcast_queue = <292>;
							mcast_loop_pri = <4>;
							cfg = <10 0 40 0 40>;
						};
					};
				};

				port@7 {
					port_id = <7>;

					l1scheduler {
						group@0 {
							sp = <18>;
							cfg = <0 18 0 18>;
						};
					};

					l0scheduler {
						group@0 {
							ucast_queue = <72>;
							ucast_loop_pri = <8>;
							mcast_queue = <296>;
							mcast_loop_pri = <2>;
							cfg = <18 0 72 0 72>;
						};
					};
				};

				port@8 {
					port_id = <8>;

					l1scheduler {
						group@0 {
							sp = <20>;
							sp_loop_pri = <6>;
							sp_max_pri = <1>;
							cfg = <0 20 0 20>;
						};
					};

					l0scheduler {
						group@0 {
							ucast_queue = <80>;
							ucast_loop_pri = <48>;
							ucast_max_pri = <8>;
							mcast_queue = <298>;
							mcast_loop_pri = <2>;
							cfg = <20 0 80 0 80>;
						};
					};
				};
			};
		};
	};
};

&tlmm {
	uart1_pins: uart1-state {
		bootph-all;
	};

	sdc_default_state: sdc-default-state {
		bootph-all;
		clk-pins {
			bootph-all;
			pins = "gpio5";
			function = "sdc_clk";
			drive-strength = <8>;
			bias-disable;
		};

		cmd-pins {
			bootph-all;
			pins = "gpio4";
			function = "sdc_cmd";
			drive-strength = <8>;
			bias-pull-up;
		};

		data-pins {
			bootph-all;
			pins = "gpio0", "gpio1", "gpio2", "gpio3";
			function = "sdc_data";
			drive-strength = <8>;
			bias-pull-up;
		};
	};

	spi0_pinmux: spi0 {
		bootph-all;
		spi0_sclk {
			bootph-all;
			pins = "gpio6";
			function = "qup_se0_l2";
			drive-strength = <8>;
			bias-pull-down;
		};

		spi0_cs0 {
			bootph-all;
			pins = "gpio7";
			function = "qup_se0_l3";
			drive-strength = <8>;
			bias-pull-down;
		};

		spi0_miso {
			bootph-all;
			pins = "gpio8";
			function = "qup_se0_l0";
			drive-strength = <8>;
			bias-pull-down;
		};

		spi0_mosi {
			bootph-all;
			pins = "gpio9";
			function = "qup_se0_l1";
			drive-strength = <8>;
			bias-pull-down;
		};
	};

	qspi_pinmux: nand {
		bootph-all;
		qspi_data {
			bootph-all;
			pins = "gpio0", "gpio1", "gpio2", "gpio3";
			function = "qspi_data";
			drive-strength = <8>;
			bias-pull-up;
		};

		qspi_cs_n {
			bootph-all;
			pins = "gpio4";
			function = "qspi_cs";
			drive-strength = <8>;
			bias-pull-up;
		};

		qspi_clk {
			bootph-all;
			pins = "gpio5";
			function = "qspi_clk";
			drive-strength = <8>;
			bias-disable;
		};
	};

	mdio_pins: mdio-state {
		mux_0 {
			pins = "gpio22";
			function = "mdc_mst";
			drive-strength = <8>;
			bias-pull-up;
		};

		mux_1 {
			pins = "gpio23";
			function = "mdio_mst";
			drive-strength = <8>;
			bias-pull-up;
		};
	};
};

&sdhc {
	bootph-all;
	bus-width = <4>;
	max-frequency = <192000000>;
	mmc-ddr-1_8v;
	non-removable;
	pinctrl-0 = <&sdc_default_state>;
	pinctrl-names = "default";
	sdhci-caps-mask = <0x0 0x04000000>;
	sdhci-caps = <0x0 0x04000000>;
	resets = <&gcc GCC_SDCC_BCR>;
	reset-names = "bcr_rst";
	status = "okay";
};

&qupv3 {
	bootph-all;
	status = "okay";
	uart1: serial@1a98000 {
		bootph-all;
		pinctrl-0 = <&uart1_pins>;
		pinctrl-names = "default";
		qup-se-fw-load = <&uart1_fw>;
		status = "okay";
	};

	uart1_fw: uart_firmware@0 {
		bootph-all;
		compatible = "qcom,ipq9650-geni-uart-fw-v1", "qcom,geni-uart-fw-v1";
		reg = <0 0x01a98000 0 0x4000>;
		status = "okay";
	};

	uart2: serial@1a84000 {
		pinctrl-0 = <&uart2_pins>;
		pinctrl-names = "default";
		qup-se-fw-load = <&uart2_fw>;
		status = "disabled";
	};

	uart2_fw: uart_firmware@1 {
		compatible = "qcom,ipq9650-geni-uart-fw-v1", "qcom,geni-uart-fw-v1";
		reg = <0 0x01a84000 0 0x4000>;
		status = "okay";
	};

	spi0: spi@1a80000 {
		bootph-all;
		compatible = "qcom-ipq9650-geni-spi", "qcom-ipq5424-geni-spi";
		reg = <0 0x1a80000 0 0x4000>;
		reg-names = "se_phys";
		clocks = <&gcc GCC_QUPV3_SPI0_CLK>;
		clock-names = "se-spi-clk";
		clock-frequency = <50000000>;
		nor-blk-enable;
		status = "okay";
		#address-cells = <1>;
		#size-cells = <0>;
		qup-se-fw-load = <&spi0_fw>;
		tx-fifo-depth = <32>;

		pinctrl-0 = <&spi0_pinmux>;
		pinctrl-names = "default";

		nor-flash@0 {
			bootph-all;
			compatible = "jedec,spi-nor";
			reg = <0>;
			spi-max-frequency = <50000000>;
		};
	};

	spi0_fw: spi_firmware@0 {
		bootph-all;
		compatible = "qcom,ipq9650-geni-spi-fw-v1", "qcom,geni-spi-fw-v1";
		reg = <0 0x1a80000 0 0x4000>;
		reg-names = "se_phys";
		status = "okay";
	};

	i2c0: i2c@1a88000 {
		compatible = "qcom,geni-i2c";
		reg = <0x0 0x1a88000 0x0 0x4000>;
		reg-names = "se_phys";
		assigned-clocks = <&gcc GCC_QUPV3_I2C_SE2_CLK>;
		assigned-clock-rates = <64000000>;
		clocks = <&gcc GCC_QUPV3_I2C_SE2_CLK>;
		clock-names = "se";
		clock-frequency = <400000>;
		qup-se-fw-load = <&i2c0_fw>;
		qcom,geni-se-clk-32mhz;
		status = "disabled";
	};

	i2c0_fw: i2c0_firmware@0 {
		compatible = "qcom,ipq9650-geni-i2c-fw-v1", "qcom,geni-i2c-fw-v1";
		reg = <0x0 0x1a88000 0x0 0x4000>;
		status = "okay";
	};

	i2c2: i2c@1A84000 {
		compatible = "qcom,geni-i2c";
		reg = <0x0 0x1A84000 0x0 0x4000>;
		reg-names = "se_phys";
		assigned-clocks = <&gcc GCC_QUPV3_I2C_SE1_CLK>;
		assigned-clock-rates = <64000000>;
		clocks = <&gcc GCC_QUPV3_I2C_SE1_CLK>;
		clock-names = "se";
		clock-frequency = <400000>;
		qup-se-fw-load = <&i2c2_fw>;
		qcom,geni-se-clk-32mhz;
		status = "disabled";
	};

	i2c2_fw: i2c2_firmware@0 {
		compatible = "qcom,ipq9650-geni-i2c-fw-v1", "qcom,geni-i2c-fw-v1";
		reg = <0x0 0x1A84000 0x0 0x4000>;
		status = "okay";
	};

	i2c1: i2c@1a8c000 {
		bootph-all;
		compatible = "qcom,geni-i2c";
		reg = <0x0 0x1a8c000 0x0 0x4000>;
		reg-names = "se_phys";
		#address-cells = <1>;
		#size-cells = <0>;
		assigned-clocks = <&gcc GCC_QUPV3_I2C_SE3_CLK>;
		assigned-clock-rates = <64000000>;
		clocks = <&gcc GCC_QUPV3_I2C_SE3_CLK>;
		clock-names = "se";
		clock-frequency = <400000>;
		qup-se-fw-load = <&i2c1_fw>;
		qcom,geni-se-clk-32mhz;
		status = "disabled";

		mp8899_pmic: pmic@68 {
			compatible = "mps,mp8899";
			reg = <0x68>;
			bootph-pre-ram;

			regulators {
				bootph-pre-ram;

				soc_cx_pmic: buck3 {
					regulator-name = "buck3";
					regulator-min-microvolt = <750000>;
					regulator-max-microvolt = <820000>;
					status = "disabled";
					bootph-pre-ram;
				};
			};
		};
	};

	i2c1_fw: i2c1_firmware@0 {
		bootph-all;
		compatible = "qcom,ipq9650-geni-i2c-fw-v1", "qcom,geni-i2c-fw-v1";
		reg = <0x0 0x1a8c000 0x0 0x4000>;
		status = "okay";
	};

	i2c3: i2c@1a90000 {
		compatible = "qcom,geni-i2c";
		reg = <0x0 0x1a90000 0x0 0x4000>;
		reg-names = "se_phys";
		assigned-clocks = <&gcc GCC_QUPV3_I2C_SE4_CLK>;
		assigned-clock-rates = <64000000>;
		clocks = <&gcc GCC_QUPV3_I2C_SE4_CLK>;
		clock-names = "se";
		clock-frequency = <400000>;
		qup-se-fw-load = <&i2c3_fw>;
		qcom,geni-se-clk-32mhz;
		status = "disabled";
	};

	i2c3_fw: i2c3_firmware@0 {
		compatible = "qcom,ipq9650-geni-i2c-fw-v1", "qcom,geni-i2c-fw-v1";
		reg = <0x0 0x1a90000 0x0 0x4000>;
		status = "okay";
	};
};

/ {
	soc_cx_gpio_reg: soc-cx-gpio-regulator {
		compatible = "qcom,gpio-regulator";
		regulator-name = "soc_cx";
		regulator-min-microvolt = <750000>;
		regulator-max-microvolt = <820000>;
		gpios = <&tlmm 16 GPIO_ACTIVE_HIGH>;
		states = <
			750000 0x0
			820000 0x1
		>;
		status = "disabled";
		bootph-pre-ram;
	};

	ddr_cx_gpio_reg: ddr-cx-gpio-regulator {
		compatible = "qcom,gpio-regulator";
		regulator-name = "ddr_cx";
		regulator-min-microvolt = <750000>;
		regulator-max-microvolt = <960000>;
		gpios = <&tlmm 33 GPIO_ACTIVE_HIGH>,
			<&tlmm 34 GPIO_ACTIVE_HIGH>;
		states = <
			750000 0x0
			815000 0x1
			890000 0x2
			960000 0x3
		>;
		status = "disabled";
		bootph-pre-ram;
	};

	voltage_control: voltage-control {
		compatible = "qcom,ipq9650-fuse-voltage-control",
			     "qcom,fuse-voltage-control";
		bootph-pre-ram;

		soc_cx_vc: soc_cx {
			qcom,rail-name = "soc_cx";
			qcom,backend = "gpio";
			qcom,mode = "nominal";
			regulator = <&soc_cx_gpio_reg>;
			status = "disabled";
			bootph-pre-ram;
		};

		ddr_cx_vc: ddr_cx {
			qcom,rail-name = "ddr_cx";
			qcom,backend = "gpio";
			qcom,mode = "turbo";
			regulator = <&ddr_cx_gpio_reg>;
			status = "disabled";
			bootph-pre-ram;
		};
	};
};
